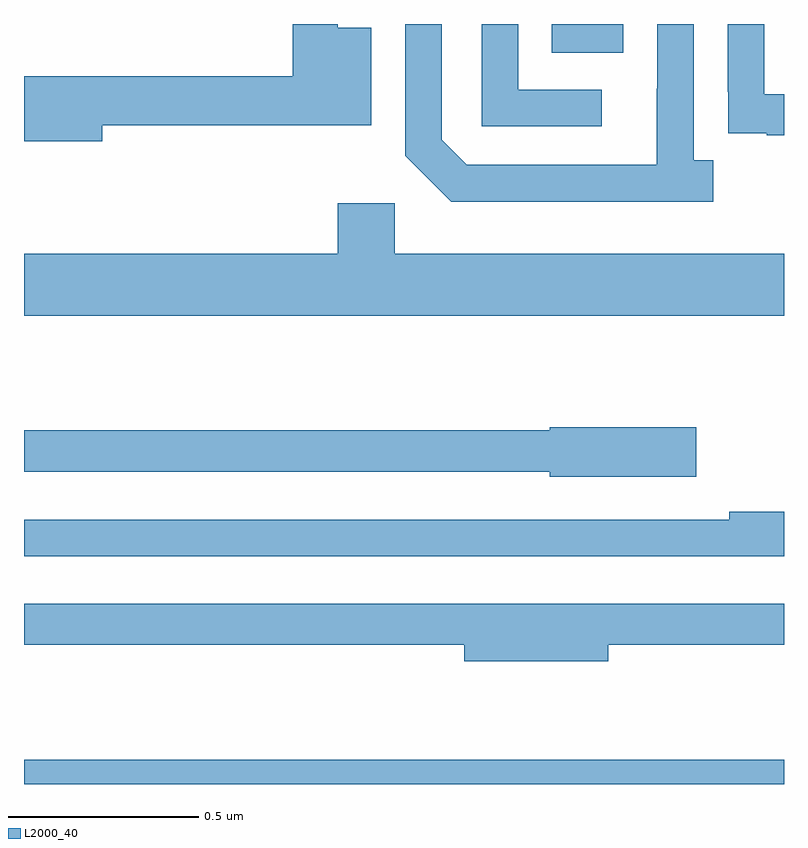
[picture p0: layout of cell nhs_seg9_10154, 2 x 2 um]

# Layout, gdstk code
import gdstk
lib = gdstk.Library(unit=1e-6, precision=1e-09)
def R(c, l, rs):  # rectangles x0, y0, x1, y1
    for r in rs: c.add(gdstk.rectangle(r[:2], r[2:], *l))
def P(c, l, *ps):  # polygons
    for p in ps: c.add(gdstk.Polygon(p, *l))
L2000_40 = (2000, 40)

nhs_seg9_10154 = lib.new_cell('nhs_seg9_10154')
R(nhs_seg9_10154, L2000_40, [(239,1216.5,241,1216.564), (240.389,1218.425,240.577,1218.5)])
P(nhs_seg9_10154, L2000_40, [(240.814,1218.142),(240.762,1218.142),(240.762,1218.5),(240.666,1218.5),(240.666,1218.329),(240.665,1218.329),(240.665,1218.129),(240.165,1218.129),(240.099,1218.195),(240.099,1218.5),(240.003,1218.5),(240.003,1218.153),(240.124,1218.032),(240.814,1218.032)],
  [(240.52,1218.327),(240.3,1218.327),(240.3,1218.5),(240.204,1218.5),(240.204,1218.231),(240.52,1218.231)],
  [(241,1218.315),(240.948,1218.315),(240.948,1218.5),(240.852,1218.5),(240.852,1218.322),(240.853,1218.322),(240.853,1218.213),(240.955,1218.213),(240.955,1218.207),(241,1218.207)],
  [(239.206,1218.234),(239.914,1218.234),(239.914,1218.49),(239.825,1218.49),(239.825,1218.5),(239.707,1218.5),(239.707,1218.362),(239,1218.362),(239,1218.191),(239.206,1218.191)],
  [(241,1217.896),(239.976,1217.896),(239.976,1218.028),(239.825,1218.028),(239.825,1217.896),(239,1217.896),(239,1217.732),(241,1217.732)],
  [(240.769,1217.439),(240.384,1217.439),(240.384,1217.431),(239,1217.431),(239,1217.322),(240.384,1217.322),(240.384,1217.309),(240.769,1217.309)],
  [(241,1217.216),(240.856,1217.216),(240.856,1217.196),(239,1217.196),(239,1217.1),(241,1217.1)],
  [(240.538,1216.866),(241,1216.866),(241,1216.974),(239,1216.974),(239,1216.866),(240.158,1216.866),(240.158,1216.823),(240.538,1216.823)])

lib.write_gds('nhs_seg9_10154.gds')
